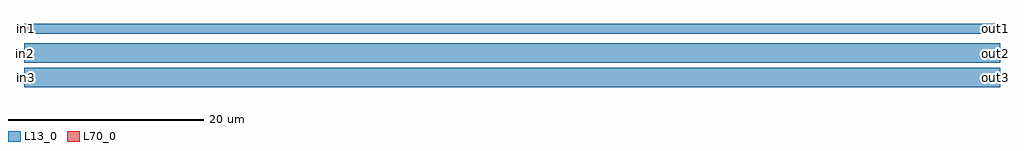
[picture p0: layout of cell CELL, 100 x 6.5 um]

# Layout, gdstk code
import gdstk
lib = gdstk.Library(unit=1e-6, precision=1e-09)
def R(c, l, rs):  # rectangles x0, y0, x1, y1
    for r in rs: c.add(gdstk.rectangle(r[:2], r[2:], *l))
def A(c, l, x, y, w, h, nx, ny, dx, dy):  # array of equal rectangles
    R(c, l, [(x+i*dx, y+j*dy, x+i*dx+w, y+j*dy+h) for i in range(nx) for j in range(ny)])
L13_0 = (13, 0)
L70_0 = (70, 0)

cell = lib.new_cell('CELL')
A(cell, L70_0, -50.4, -3.2, 0.5, 0.4, 1, 3, 0, 2.5)
A(cell, L70_0, 48.9, -3.2, 0.5, 0.4, 1, 3, 0, 2.5)
cell.add(gdstk.FlexPath([(-50,2),(49,2)], 1, ends="extended", simple_path=True, layer=13, datatype=0))  # L13_0
cell.add(gdstk.FlexPath([(-49.5,-0.5),(48.5,-0.5)], 2, ends="extended", simple_path=True, layer=13, datatype=0))  # L13_0
cell.add(gdstk.FlexPath([(-49.5,-3),(48.5,-3)], 2, ends="extended", simple_path=True, layer=13, datatype=0))  # L13_0
cell.add(gdstk.Label('in1', (-50.2,2), layer=70, texttype=1))
cell.add(gdstk.Label('in2', (-50.3,-0.5), layer=70, texttype=1))
cell.add(gdstk.Label('in3', (-50.2,-3), layer=70, texttype=1))
cell.add(gdstk.Label('out1', (49,2), layer=70, texttype=1))
cell.add(gdstk.Label('out2', (49,-0.5), layer=70, texttype=1))
cell.add(gdstk.Label('out3', (49,-3), layer=70, texttype=1))

lib.write_gds('CELL.gds')
